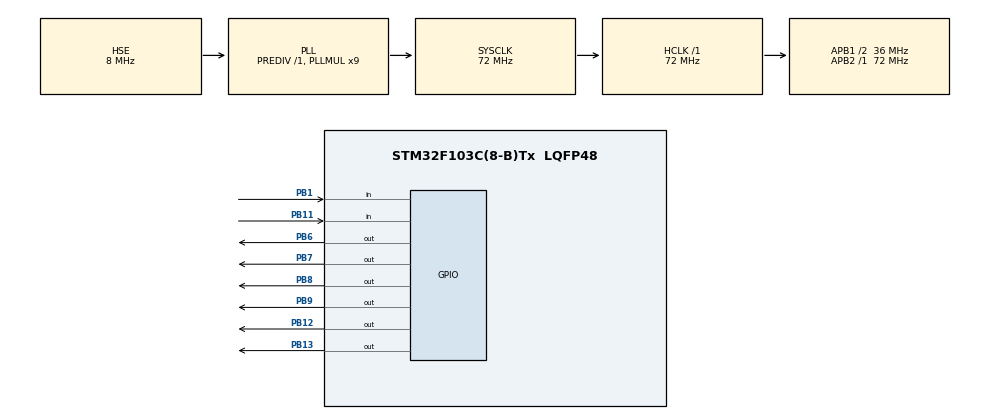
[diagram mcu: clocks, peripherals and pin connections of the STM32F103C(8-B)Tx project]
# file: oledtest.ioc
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FREERTOS.Tasks01=defaultTask,24,128,StartDefaultTask,Default,NULL,Dynamic,NULL,NULL
Mcu.Family=STM32F1
Mcu.Name=STM32F103C(8-B)Tx
Mcu.Package=LQFP48
NVIC.PriorityGroup=NVIC_PRIORITYGROUP_4
NVIC.TIM2_IRQn=true\:5\:0\:false\:false\:true\:true\:true\:true\:true
NVIC.TIM4_IRQn=true\:15\:0\:false\:false\:true\:false\:false\:true\:true
NVIC.TimeBase=TIM4_IRQn
NVIC.TimeBaseIP=TIM4
PA13.Mode=Serial_Wire
PA13.Signal=SYS_JTMS-SWDIO
PA14.Mode=Serial_Wire
PA14.Signal=SYS_JTCK-SWCLK
PB1.GPIO_PuPd=GPIO_PULLUP
PB1.Signal=GPIO_Input
PB11.GPIO_PuPd=GPIO_PULLUP
PB11.Signal=GPIO_Input
PB12.GPIO_ModeDefaultOutputPP=GPIO_MODE_OUTPUT_PP
PB12.GPIO_Speed=GPIO_SPEED_FREQ_HIGH
PB12.PinState=GPIO_PIN_SET
PB12.Signal=GPIO_Output
PB13.GPIO_Speed=GPIO_SPEED_FREQ_HIGH
PB13.PinState=GPIO_PIN_SET
PB13.Signal=GPIO_Output
PB6.GPIO_ModeDefaultOutputPP=GPIO_MODE_OUTPUT_OD
PB6.GPIO_PuPd=GPIO_NOPULL
PB6.GPIO_Speed=GPIO_SPEED_FREQ_HIGH
PB6.PinState=GPIO_PIN_SET
PB6.Signal=GPIO_Output
PB7.GPIO_ModeDefaultOutputPP=GPIO_MODE_OUTPUT_OD
PB7.GPIO_PuPd=GPIO_NOPULL
PB7.GPIO_Speed=GPIO_SPEED_FREQ_HIGH
PB7.PinState=GPIO_PIN_SET
PB7.Signal=GPIO_Output
PB8.GPIO_Speed=GPIO_SPEED_FREQ_HIGH
PB8.Signal=GPIO_Output
PB9.GPIO_Speed=GPIO_SPEED_FREQ_HIGH
PB9.Signal=GPIO_Output
PD0-OSC_IN.Mode=HSE-External-Oscillator
PD0-OSC_IN.Signal=RCC_OSC_IN
PD1-OSC_OUT.Mode=HSE-External-Oscillator
PD1-OSC_OUT.Signal=RCC_OSC_OUT
ProjectManager.HeapSize=0x200
ProjectManager.StackSize=0x400
ProjectManager.TargetToolchain=MDK-ARM V5.32
RCC.AHBFreq_Value=72000000
RCC.APB1CLKDivider=RCC_HCLK_DIV2
RCC.APB1Freq_Value=36000000
RCC.APB1TimFreq_Value=72000000
RCC.APB2Freq_Value=72000000
RCC.APB2TimFreq_Value=72000000
RCC.HCLKFreq_Value=72000000
RCC.PLLMUL=RCC_PLL_MUL9
RCC.PLLSourceVirtual=RCC_PLLSOURCE_HSE
RCC.SYSCLKFreq_VALUE=72000000
RCC.SYSCLKSource=RCC_SYSCLKSOURCE_PLLCLK
RCC.USBFreq_Value=72000000
TIM2.Period=3600-1
TIM2.Prescaler=2000-1
VP_FREERTOS_VS_CMSIS_V2.Mode=CMSIS_V2
VP_SYS_VS_tim4.Mode=TIM4
VP_TIM2_VS_ClockSourceINT.Mode=Internal
board=custom

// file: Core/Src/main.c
/* USER CODE BEGIN Header */
/**
  ******************************************************************************
  * @file           : main.c
  * @brief          : Main program body
  ******************************************************************************
  * @attention
  *
  * Copyright (c) 2026 STMicroelectronics.
  * All rights reserved.
  *
  * This software is licensed under terms that can be found in the LICENSE file
  * in the root directory of this software component.
  * If no LICENSE file comes with this software, it is provided AS-IS.
  *
  ******************************************************************************
  */
/* USER CODE END Header */
#include "main.h"
#include "cmsis_os.h"
#include "tim.h"
#include "gpio.h"

/* USER CODE BEGIN Includes */
#include "OLED.h"
#include "Key.h"
/* USER CODE END Includes */

void SystemClock_Config(void);
void MX_FREERTOS_Init(void);

int main(void)
{

  /* MCU Configuration--------------------------------------------------------*/

  /* Reset of all peripherals, Initializes the Flash interface and the Systick. */
  HAL_Init();

  /* Configure the system clock */
  SystemClock_Config();

  /* Initialize all configured peripherals */
  MX_GPIO_Init();
  MX_TIM2_Init();

  /* Init scheduler */
  osKernelInitialize();  /* Call init function for freertos objects (in cmsis_os2.c) */
  MX_FREERTOS_Init();

  /* Start scheduler */
  osKernelStart();

  /* We should never get here as control is now taken by the scheduler */

  /* Infinite loop */
  while (1)
  {

  }
}

void SystemClock_Config(void)
{
  RCC_OscInitTypeDef RCC_OscInitStruct = {0};
  RCC_ClkInitTypeDef RCC_ClkInitStruct = {0};

  /** Initializes the RCC Oscillators according to the specified parameters
  * in the RCC_OscInitTypeDef structure.
  */
  RCC_OscInitStruct.OscillatorType = RCC_OSCILLATORTYPE_HSE;
  RCC_OscInitStruct.HSEState = RCC_HSE_ON;
  RCC_OscInitStruct.HSEPredivValue = RCC_HSE_PREDIV_DIV1;
  RCC_OscInitStruct.HSIState = RCC_HSI_ON;
  RCC_OscInitStruct.PLL.PLLState = RCC_PLL_ON;
  RCC_OscInitStruct.PLL.PLLSource = RCC_PLLSOURCE_HSE;
  RCC_OscInitStruct.PLL.PLLMUL = RCC_PLL_MUL9;
  if (HAL_RCC_OscConfig(&RCC_OscInitStruct) != HAL_OK)
  {
    Error_Handler();
  }

  /** Initializes the CPU, AHB and APB buses clocks
  */
  RCC_ClkInitStruct.ClockType = RCC_CLOCKTYPE_HCLK|RCC_CLOCKTYPE_SYSCLK
                              |RCC_CLOCKTYPE_PCLK1|RCC_CLOCKTYPE_PCLK2;
  RCC_ClkInitStruct.SYSCLKSource = RCC_SYSCLKSOURCE_PLLCLK;
  RCC_ClkInitStruct.AHBCLKDivider = RCC_SYSCLK_DIV1;
  RCC_ClkInitStruct.APB1CLKDivider = RCC_HCLK_DIV2;
  RCC_ClkInitStruct.APB2CLKDivider = RCC_HCLK_DIV1;

  if (HAL_RCC_ClockConfig(&RCC_ClkInitStruct, FLASH_LATENCY_2) != HAL_OK)
  {
    Error_Handler();
  }
}

void HAL_TIM_PeriodElapsedCallback(TIM_HandleTypeDef *htim)
{
  if (htim->Instance == TIM4)
  {
    HAL_IncTick();
  }
  /* USER CODE BEGIN Callback 1 */
  if (htim->Instance == TIM2)
  {
	  MyTIM_Scan();
  }
  /* USER CODE END Callback 1 */
}

void Error_Handler(void)
{
  __disable_irq();
  while (1)
  {
  }
}

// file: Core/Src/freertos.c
/* USER CODE BEGIN Header */
/**
  ******************************************************************************
  * File Name          : freertos.c
  * Description        : Code for freertos applications
  ******************************************************************************
  * @attention
  *
  * Copyright (c) 2026 STMicroelectronics.
  * All rights reserved.
  *
  * This software is licensed under terms that can be found in the LICENSE file
  * in the root directory of this software component.
  * If no LICENSE file comes with this software, it is provided AS-IS.
  *
  ******************************************************************************
  */
/* USER CODE END Header */

#include "FreeRTOS.h"
#include "task.h"
#include "main.h"
#include "cmsis_os.h"

/* USER CODE BEGIN Includes */
#include "OLED.h"
#include "Key.h"
/* USER CODE END Includes */

/* Definitions for defaultTask */
osThreadId_t defaultTaskHandle;
const osThreadAttr_t defaultTask_attributes = {
  .name = "defaultTask",
  .stack_size = 128 * 4,
  .priority = (osPriority_t) osPriorityNormal,
};

/* USER CODE BEGIN FunctionPrototypes */
void Test_Key(void *argument)
{
	OLED_Init();
	Key_Init();
	int8_t cnt=0;
	OLED_ShowString(1,1,"cnt:");

	while(1)
	{
		if(Key_Get(0))
		{
			cnt++;
		}
		if(Key_Get(1))
		{
			cnt++;
		}
		OLED_ShowSignedNum(1,5,cnt,3);
	}
}
/* USER CODE END FunctionPrototypes */

void StartDefaultTask(void *argument);

void MX_FREERTOS_Init(void); /* (MISRA C 2004 rule 8.1) */

void MX_FREERTOS_Init(void) {

  /* Create the thread(s) */
  /* creation of defaultTask */
  defaultTaskHandle = osThreadNew(StartDefaultTask, NULL, &defaultTask_attributes);

  /* USER CODE BEGIN RTOS_THREADS */
  /* add threads, ... */
  xTaskCreate(Test_Key,"TestKey",128,NULL,osPriorityNormal,NULL);
  /* USER CODE END RTOS_THREADS */

}

void StartDefaultTask(void *argument)
{
  for(;;)
  {
    osDelay(1);
  }
}
